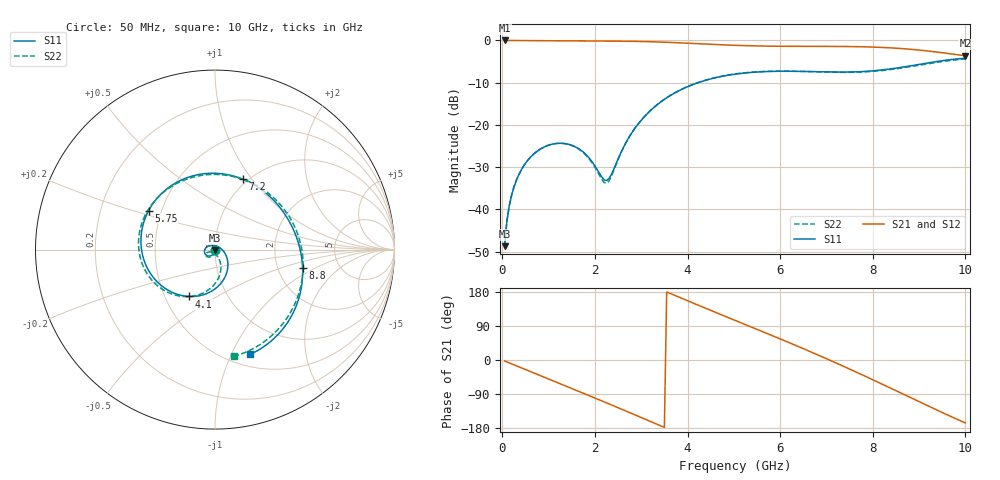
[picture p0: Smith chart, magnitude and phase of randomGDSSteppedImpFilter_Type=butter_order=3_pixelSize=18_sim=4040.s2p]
! freq	dB(S11)	phase(S11)	dB(S12)	phase(S12)
!  dB(S21)	phase(S21)	dB(S22)	phase(S22)
!S-par simulation data
#  GHz  S  DB  R 50
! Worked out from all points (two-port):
!   200 points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, 50 MHz to 10 GHz, reference 50 ohm
!   highest |S21| = 0.00 dB at 50 MHz (marker M1); lowest = -3.6 dB at 10 GHz (marker M2)
!   |S21| within 3 dB of the highest: start of sweep to 9.567 GHz
!   lowest |S11| = -48.7 dB at 50 MHz (marker M3), VSWR 1.01, Z = 50 - j0.366 ohm
!   |S11| at or under -10 dB: start of sweep to 4.229 GHz
!   |S22| runs from -48.7 to -4.4 dB; largest |S21 - S12| = 0
!   S11 on the Smith chart (normalised r, x): 50 MHz: 1.00, -0.01; 4.1 GHz: 0.66, -0.38; 5.75 GHz: 0.42, +0.23; 7.2 GHz: 0.95, +0.91; 8.8 GHz: 2.75, -0.76; 10 GHz: 0.63, -1.18
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0.05  -48.72 -91.5  -0.00 -2.6  -0.00 -2.6  -48.71 -90.9
0.1  -42.70 -94.7  -0.01 -5.1  -0.01 -5.1  -42.69 -93.6
0.2  -36.70 -100.4  -0.02 -10.1  -0.02 -10.1  -36.69 -98.2
0.35  -31.95 -109.0  -0.03 -17.6  -0.03 -17.6  -31.94 -105.2
0.55  -28.38 -120.6  -0.04 -27.6  -0.04 -27.6  -28.37 -114.4
1.15  -24.42 -156.2  -0.08 -57.6  -0.08 -57.6  -24.43 -140.8
1.75  -26.45 161.3  -0.11 -87.7  -0.11 -87.7  -26.56 -159.7
2.25  -33.16 67.5  -0.13 -113.1  -0.13 -113.1  -33.83 -114.3
2.8  -21.83 -34.8  -0.20 -141.4  -0.20 -141.4  -21.81 -68.1
3.4  -14.76 -77.3  -0.38 -172.6  -0.38 -172.6  -14.71 -88.6
4.1  -10.51 -118.8  -0.71 151.3  -0.71 151.3  -10.46 -119.2
4.6  -8.84 -146.9  -0.97 125.9  -0.97 125.9  -8.79 -141.5
5.05  -7.95 -171.8  -1.17 103.4  -1.17 103.4  -7.90 -161.4
5.75  -7.35 149.5  -1.35 68.4  -1.35 68.4  -7.30 167.6
6.2  -7.30 124.2  -1.39 45.6  -1.39 45.6  -7.27 147.2
6.7  -7.40 96.0  -1.40 19.5  -1.40 19.5  -7.40 123.2
7.2  -7.50 68.3  -1.41 -7.4  -1.41 -7.4  -7.54 97.2
7.75  -7.38 39.2  -1.49 -37.9  -1.49 -37.9  -7.49 65.3
8.35  -6.79 9.6  -1.74 -72.2  -1.74 -72.2  -6.94 26.8
8.8  -6.04 -12.0  -2.08 -98.3  -2.08 -98.3  -6.22 -3.4
9.4  -4.95 -41.4  -2.77 -133.0  -2.77 -133.0  -5.15 -43.0
10  -4.21 -71.6  -3.63 -166.1  -3.63 -166.1  -4.38 -79.8
